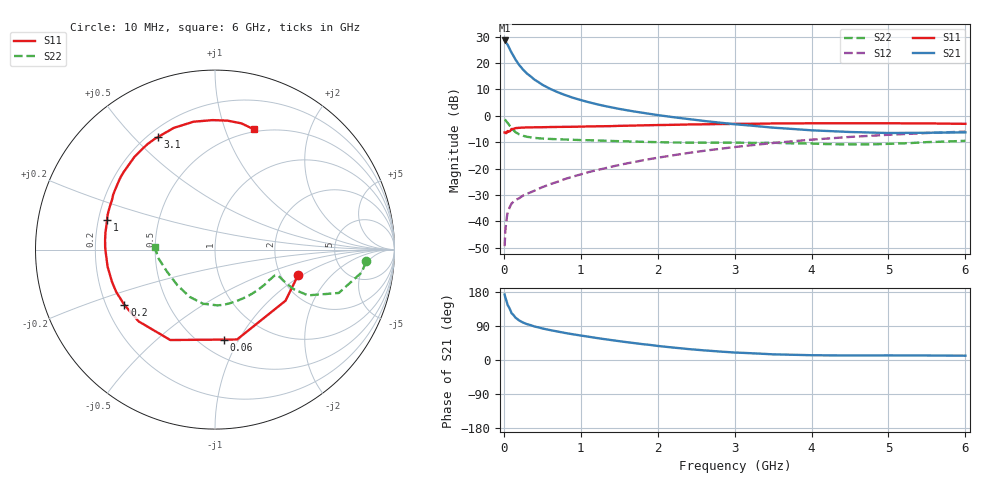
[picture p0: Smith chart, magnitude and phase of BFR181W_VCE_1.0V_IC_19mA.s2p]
! (c) 2017  Infineon Technologies AG, Munich
! Infineon Technologies  Discrete & RF Semiconductors
! BFR181W
! VCE =  1.0 V,  IC =  19 mA
! Common Emitter S-Parameters:  Jan 2017
# GHz  S  MA  R  50
!  f  S11  S21  S12  S22
! GHz  MAG  ANG  MAG  ANG  MAG  ANG  MAG  ANG
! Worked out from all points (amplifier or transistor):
!   77 points, 10 MHz to 6 GHz, reference 50 ohm
!   highest |S21| = 28.5 dB at 10 MHz (marker M1)
!   |S21| within 3 dB of that: start of sweep to 72.57 MHz
!   unconditionally stable (mu >= 1): start of sweep to 12.73 MHz; 228.6 MHz to end of sweep
!   at 130 MHz: K = 0.70, MSG = 27.4 dB, |S12| = -32.4 dB
!   at 2.2 GHz: K = 1.36, MAG = 3.6 dB, |S12| = -15.0 dB
!   at 6 GHz: K = 1.24, MAG = -3.1 dB, |S12| = -6.0 dB
!   S11 on the Smith chart (normalised r, x): 10 MHz: 2.48, -0.93; 60 MHz: 0.64, -0.87; 200 MHz: 0.28, -0.26; 1 GHz: 0.24, +0.13; 3.1 GHz: 0.24, +0.59; 6 GHz: 0.47, +1.26
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0.01  0.4843 -17.2  26.68 172.8  0.0034 80.0  0.8441 -4.5
0.02  0.4852 -36.0  25.87 164.4  0.0068 75.5  0.8276 -8.8
0.05  0.5156 -76.2  22.06 144.7  0.0149 62.2  0.731 -19.3
0.06  0.5037 -84.5  20.61 141.5  0.0162 59.5  0.6997 -20.4
0.1  0.5619 -116.3  15.71 123.5  0.0218 52.1  0.5781 -26.2
0.15  0.5842 -136.8  11.69 112.0  0.0254 48.6  0.4922 -26.7
0.2  0.5915 -148.5  9.142 104.2  0.0275 48.9  0.4449 -25.5
0.25  0.5989 -156.9  7.485 98.8  0.0309 49.4  0.4183 -24.4
0.3  0.6013 -162.6  6.309 94.7  0.0332 51.2  0.4004 -23.4
0.4  0.6058 -170.8  4.816 88.3  0.0383 55.4  0.3814 -22.5
0.5  0.6076 -176.9  3.873 83.3  0.0445 59.6  0.3712 -22.7
0.6  0.6122 178.6  3.25 79.0  0.0506 62.1  0.3646 -23.3
0.7  0.6149 174.7  2.797 75.1  0.0564 65.4  0.3596 -24.3
0.8  0.6177 171.0  2.46 71.2  0.0639 66.9  0.3556 -25.8
1  0.6235 164.8  1.986 64.6  0.0777 69.1  0.3467 -29.3
1.1  0.629 162.0  1.813 61.5  0.0856 70.2  0.345 -31.4
1.5  0.6446 151.7  1.351 49.7  0.117 71.5  0.3304 -40.8
2.1  0.6705 137.4  0.986 35.0  0.1694 69.6  0.3144 -58.5
3.1  0.7033 116.7  0.673 18.9  0.2654 61.4  0.3088 -90.6
4.1  0.721 97.9  0.523 12.5  0.3615 50.1  0.2943 -121.7
5.1  0.7205 83.2  0.473 12.1  0.4433 37.7  0.297 -158.6
6  0.7044 72.2  0.486 11.3  0.5029 27.1  0.3364 177.9
